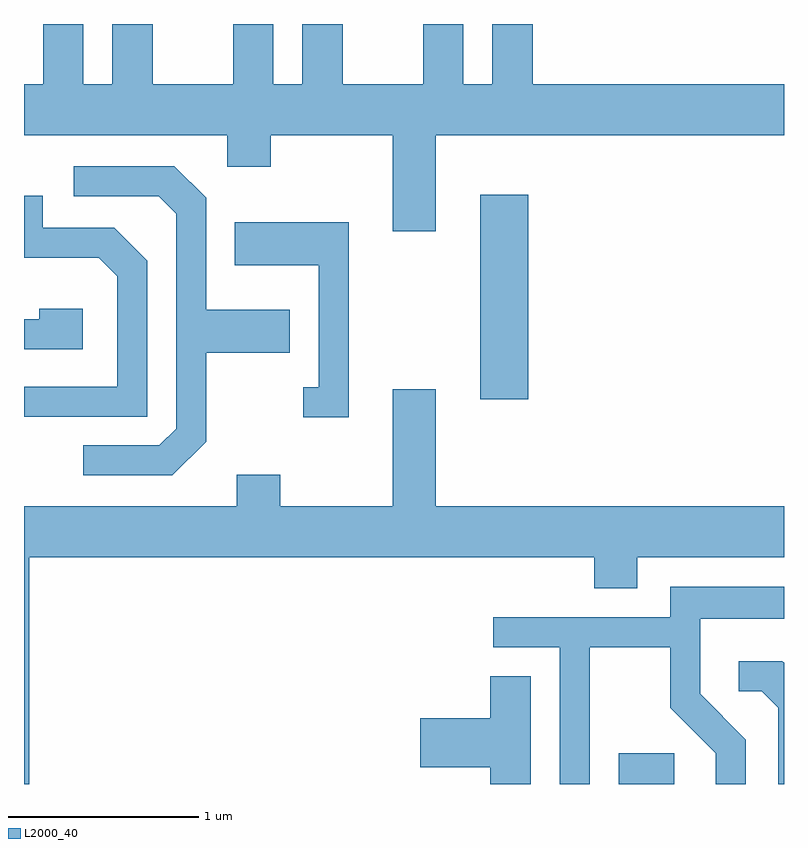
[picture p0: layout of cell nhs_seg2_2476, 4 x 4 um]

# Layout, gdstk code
import gdstk
lib = gdstk.Library(unit=1e-6, precision=1e-09)
def R(c, l, rs):  # rectangles x0, y0, x1, y1
    for r in rs: c.add(gdstk.rectangle(r[:2], r[2:], *l))
def P(c, l, *ps):  # polygons
    for p in ps: c.add(gdstk.Polygon(p, *l))
L2000_40 = (2000, 40)

nhs_seg2_2476 = lib.new_cell('nhs_seg2_2476')
R(nhs_seg2_2476, L2000_40, [(260.741,1033.802,261.034,1033.964), (260.011,1035.826,260.264,1036.904)])
P(nhs_seg2_2476, L2000_40, [(259.289,1037.802),(259.076,1037.802),(259.076,1037.484),(258.924,1037.484),(258.924,1037.802),(258.711,1037.802),(258.711,1037.484),(258.289,1037.484),(258.289,1037.802),(258.076,1037.802),(258.076,1037.484),(257.924,1037.484),(257.924,1037.802),(257.711,1037.802),(257.711,1037.484),(257.611,1037.484),(257.611,1037.216),(258.681,1037.216),(258.681,1037.051),(258.909,1037.051),(258.909,1037.216),(259.551,1037.216),(259.551,1036.711),(259.779,1036.711),(259.779,1037.216),(261.611,1037.216),(261.611,1037.484),(260.289,1037.484),(260.289,1037.802),(260.076,1037.802),(260.076,1037.484),(259.924,1037.484),(259.924,1037.802),(259.711,1037.802),(259.711,1037.484),(259.289,1037.484)],
  [(258.569,1035.603),(258.569,1036.071),(259.009,1036.071),(259.009,1036.299),(258.569,1036.299),(258.569,1036.887),(258.402,1037.054),(257.873,1037.054),(257.873,1036.896),(258.319,1036.896),(258.411,1036.804),(258.411,1035.671),(258.324,1035.584),(257.923,1035.584),(257.923,1035.426),(258.392,1035.426)],
  [(258.259,1036.556),(258.087,1036.729),(257.709,1036.729),(257.709,1036.899),(257.611,1036.899),(257.611,1036.571),(258.004,1036.571),(258.101,1036.474),(258.101,1035.894),(257.611,1035.894),(257.611,1035.736),(258.259,1035.736)],
  [(259.319,1036.759),(258.721,1036.759),(258.721,1036.531),(259.161,1036.531),(259.161,1035.889),(259.082,1035.889),(259.082,1035.731),(259.319,1035.731)],
  [(257.919,1036.304),(257.691,1036.304),(257.691,1036.249),(257.611,1036.249),(257.611,1036.091),(257.919,1036.091)],
  [(257.639,1034.996),(260.611,1034.996),(260.611,1034.831),(260.839,1034.831),(260.839,1034.996),(261.611,1034.996),(261.611,1035.264),(259.779,1035.264),(259.779,1035.879),(259.551,1035.879),(259.551,1035.264),(258.959,1035.264),(258.959,1035.429),(258.731,1035.429),(258.731,1035.264),(257.611,1035.264),(257.611,1033.802),(257.639,1033.802)],
  [(260.589,1034.521),(261.011,1034.521),(261.011,1034.204),(261.251,1033.964),(261.251,1033.802),(261.409,1033.802),(261.409,1034.036),(261.169,1034.277),(261.169,1034.671),(261.611,1034.671),(261.611,1034.839),(261.011,1034.839),(261.011,1034.679),(260.082,1034.679),(260.082,1034.521),(260.431,1034.521),(260.431,1033.802),(260.589,1033.802)],
  [(261.611,1034.44),(261.602,1034.449),(261.373,1034.449),(261.373,1034.291),(261.493,1034.291),(261.581,1034.204),(261.581,1033.802),(261.611,1033.802)],
  [(260.279,1034.369),(260.066,1034.369),(260.066,1034.149),(259.696,1034.149),(259.696,1033.891),(260.066,1033.891),(260.066,1033.802),(260.279,1033.802)])

lib.write_gds('nhs_seg2_2476.gds')
